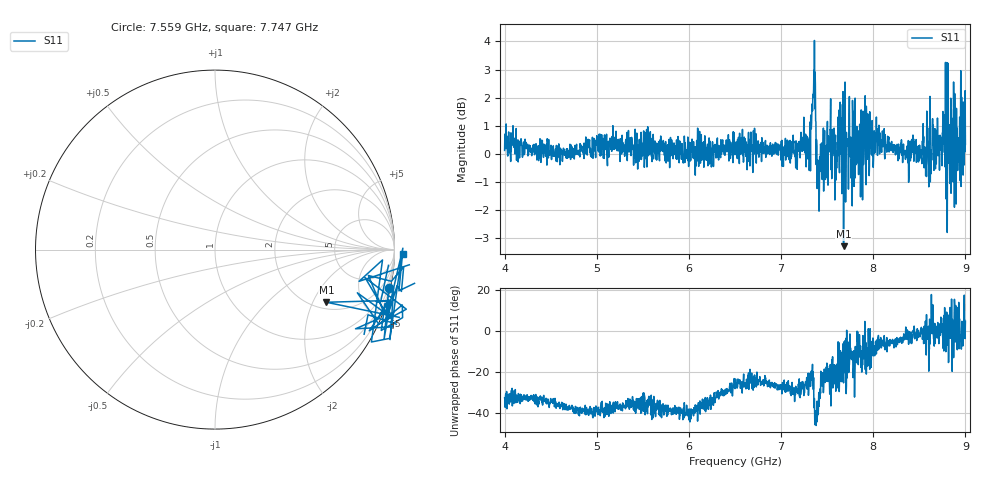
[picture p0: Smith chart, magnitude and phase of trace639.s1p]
! Created with skrf 1.8.0 (http://scikit-rf.org).
# Hz S RI R 50.0
!freq ReS11 ImS11
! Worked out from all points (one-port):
!   1601 points, 4 GHz to 9 GHz, reference 50 ohm
!   lowest |S11| = -3.3 dB at 7.678 GHz (marker M1), VSWR 5.37, Z = 115 - j127 ohm
!   |S11| at or under -10 dB: nowhere
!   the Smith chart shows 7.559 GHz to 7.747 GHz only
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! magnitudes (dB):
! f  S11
! 4 GHz  0.1
! 4.625 GHz  -0.2
! 5.25 GHz  0.1
! 5.875 GHz  0.0
! 6.5 GHz  0.0
! 7.125 GHz  0.4
! 7.294 GHz  0.0
! 7.316 GHz  0.6
! 7.347 GHz  2.1
! 7.362 GHz  4.0
! 7.4 GHz  -0.2
! 7.412 GHz  -2.0
! 7.522 GHz  0.3
! 7.609 GHz  -0.3
! 7.65 GHz  1.3
! 7.678 GHz  -3.3
! 7.75 GHz  -0.1
! 8.038 GHz  0.5
! 8.375 GHz  -0.3
! 8.441 GHz  -0.3
! 8.581 GHz  1.5
! 8.775 GHz  1.4
! 8.828 GHz  -0.2
! 8.834 GHz  0.6
! 8.844 GHz  -1.4
! 8.919 GHz  -0.1
! 8.972 GHz  0.6
! 9 GHz  0.3
